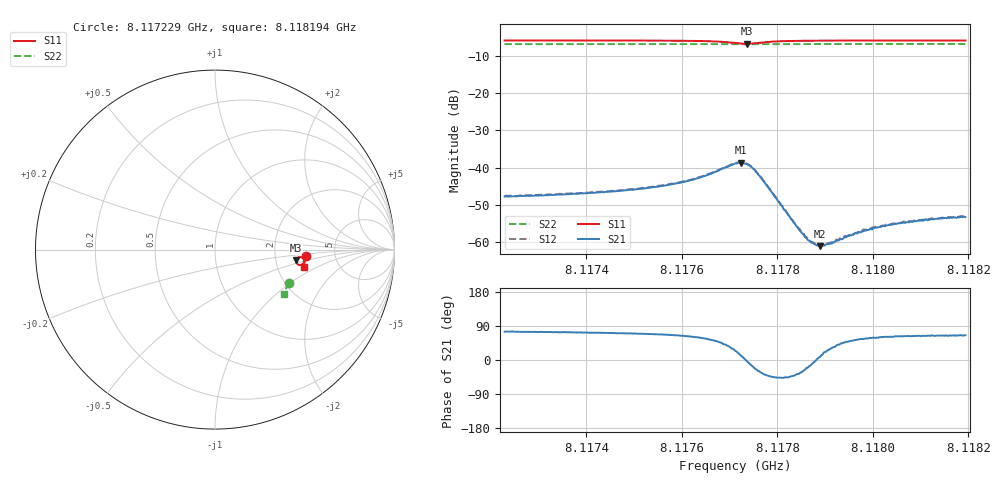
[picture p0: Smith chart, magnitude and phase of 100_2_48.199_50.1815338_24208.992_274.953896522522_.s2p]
#  HZ  S  RI  R  50.00
! Rohde & Schwarz Vector Network Analyzer
! Rohde-Schwarz,ZNB20-2Port,1311601062101988,3.16
! Created: UTC 3/20/2024, 11:40:33 AM
! freq[Hz]  re:S11  im:S11  re:S21  im:S21  re:S12  im:S12  re:S22  im:S22
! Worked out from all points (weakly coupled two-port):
!   401 points, 8.117229 GHz to 8.118194 GHz, reference 50 ohm
!   highest |S21| = -38.67 dB at 8.117723 GHz (marker M1); lowest = -61.1 dB at 8.11789 GHz (marker M2)
!   lowest |S11| = -6.8 dB at 8.117735 GHz (marker M3), VSWR 2.68, Z = 130 - j19.5 ohm
!   |S11| at or under -10 dB: nowhere
!   |S22| runs from -6.9 to -6.9 dB; largest |S21 - S12| = 0.00036
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8.1172288e9  0.5045 -0.0351  0.00107 0.00394  0.00114 0.004  0.4118 -0.1846
8.1173904e9  0.5028 -0.0489  0.00135 0.0043  0.00142 0.00433  0.4075 -0.1951
8.1174628e9  0.5015 -0.0558  0.00161 0.00456  0.00164 0.00465  0.4053 -0.1998
8.1175521e9  0.4989 -0.0654  0.00213 0.00517  0.00224 0.00527  0.4027 -0.2055
8.1175859e9  0.4969 -0.0699  0.00256 0.00554  0.00266 0.00557  0.4016 -0.2077
8.1176269e9  0.4928 -0.0761  0.00344 0.00608  0.00355 0.00618  0.4001 -0.2105
8.1176558e9  0.4877 -0.0814  0.00465 0.0066  0.00477 0.00666  0.399 -0.2123
8.1177113e9  0.4603 -0.081  0.0103 0.00474  0.0105 0.00481  0.3961 -0.2153
8.1177234e9  0.4533 -0.0721  0.0114 0.00242  0.0115 0.00246  0.3956 -0.2155
8.1177355e9  0.4521 -0.0594  0.0112 -0.000486  0.0113 -0.000571  0.3955 -0.2157
8.1177475e9  0.4581 -0.0481  0.00952 -0.00272  0.00958 -0.00299  0.3954 -0.216
8.117762e9  0.4695 -0.0421  0.00683 -0.00385  0.00675 -0.00401  0.3958 -0.2167
8.1178465e9  0.4964 -0.0587  0.00118 -0.000828  0.00124 -0.000876  0.3941 -0.2227
8.1178609e9  0.4973 -0.0614  0.00106 -0.000403  0.00108 -0.000459  0.3937 -0.2238
8.117873e9  0.4977 -0.0637  0.000988 -0.000167  0.000976 -0.000208  0.3934 -0.2246
8.1178802e9  0.4979 -0.0646  0.000928 -3.68e-05  0.000947 -4.62e-05  0.3931 -0.2251
8.1178899e9  0.498 -0.0663  0.000874 0.000132  0.000906 0.000141  0.3927 -0.2257
8.1179044e9  0.4983 -0.0683  0.000854 0.000405  0.000868 0.000375  0.3923 -0.2266
8.1179792e9  0.4983 -0.0773  0.000799 0.00115  0.00085 0.0012  0.3898 -0.2315
8.1180347e9  0.4977 -0.0829  0.000828 0.0015  0.000833 0.00151  0.388 -0.2349
8.1181191e9  0.4967 -0.0906  0.000896 0.0018  0.000902 0.00185  0.3851 -0.2401
8.1181939e9  0.4956 -0.0969  0.000907 0.00197  0.000947 0.00202  0.3824 -0.2446
